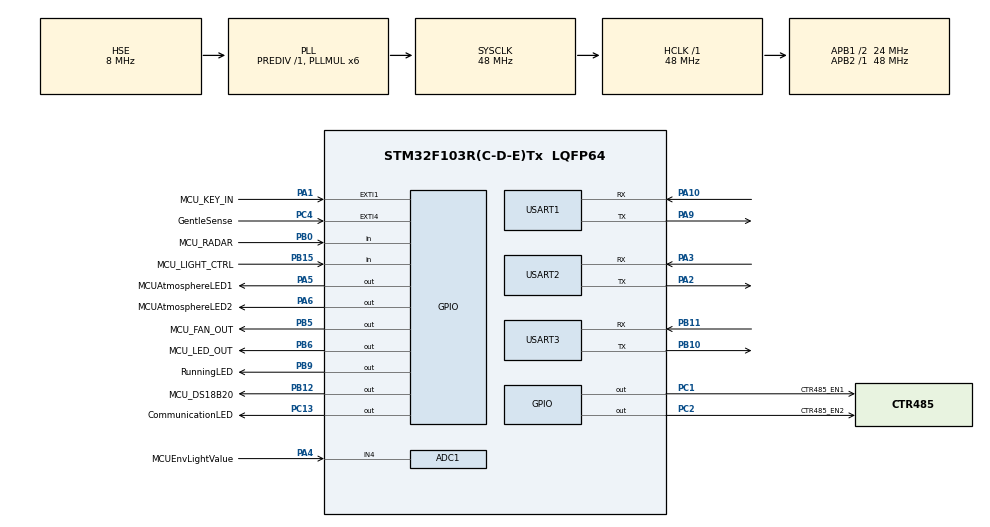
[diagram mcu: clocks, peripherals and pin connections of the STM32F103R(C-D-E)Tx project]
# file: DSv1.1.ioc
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ADC1.Channel-23\#ChannelRegularConversion=ADC_CHANNEL_4
ADC1.NbrOfConversionFlag=1
ADC1.Rank-23\#ChannelRegularConversion=1
ADC1.SamplingTime-23\#ChannelRegularConversion=ADC_SAMPLETIME_1CYCLE_5
ADC1.master=1
Dma.Request0=USART1_RX
Dma.USART1_RX.0.Direction=DMA_PERIPH_TO_MEMORY
Dma.USART1_RX.0.Instance=DMA1_Channel5
Dma.USART1_RX.0.MemDataAlignment=DMA_MDATAALIGN_BYTE
Dma.USART1_RX.0.MemInc=DMA_MINC_ENABLE
Dma.USART1_RX.0.Mode=DMA_NORMAL
Dma.USART1_RX.0.PeriphDataAlignment=DMA_PDATAALIGN_BYTE
Dma.USART1_RX.0.PeriphInc=DMA_PINC_DISABLE
Dma.USART1_RX.0.Priority=DMA_PRIORITY_LOW
Mcu.Family=STM32F1
Mcu.Name=STM32F103R(C-D-E)Tx
Mcu.Package=LQFP64
NVIC.DMA1_Channel5_IRQn=true\:0\:0\:false\:false\:true\:false
NVIC.EXTI1_IRQn=true\:0\:0\:false\:true\:true\:7\:true
NVIC.EXTI4_IRQn=true\:0\:0\:false\:true\:true\:6\:true
NVIC.PVD_IRQn=true\:0\:0\:false\:true\:true\:8\:true
NVIC.PriorityGroup=NVIC_PRIORITYGROUP_4
NVIC.TIM4_IRQn=true\:0\:0\:false\:true\:true\:4\:true
NVIC.TIM5_IRQn=true\:0\:0\:false\:true\:true\:5\:true
NVIC.USART1_IRQn=true\:0\:0\:false\:true\:true\:1\:true
NVIC.USART2_IRQn=true\:0\:0\:false\:true\:true\:2\:true
NVIC.USART3_IRQn=true\:0\:0\:false\:true\:true\:3\:true
PA1.GPIO_Label=MCU_KEY_IN
PA1.Signal=GPXTI1
PA10.Mode=Asynchronous
PA10.Signal=USART1_RX
PA13.Mode=Serial_Wire
PA13.Signal=SYS_JTMS-SWDIO
PA14.Mode=Serial_Wire
PA14.Signal=SYS_JTCK-SWCLK
PA2.Mode=Asynchronous
PA2.Signal=USART2_TX
PA3.Mode=Asynchronous
PA3.Signal=USART2_RX
PA4.GPIO_Label=MCUEnvLightValue
PA4.Signal=ADCx_IN4
PA5.GPIO_Label=MCUAtmosphereLED1
PA5.Signal=GPIO_Output
PA6.GPIO_Label=MCUAtmosphereLED2
PA6.Signal=GPIO_Output
PA9.Mode=Asynchronous
PA9.Signal=USART1_TX
PB0.GPIO_Label=MCU_RADAR
PB0.Signal=GPIO_Input
PB10.Mode=Asynchronous
PB10.Signal=USART3_TX
PB11.Mode=Asynchronous
PB11.Signal=USART3_RX
PB12.GPIO_Label=MCU_DS18B20
PB12.Signal=GPIO_Output
PB15.GPIO_Label=MCU_LIGHT_CTRL
PB15.Signal=GPIO_Input
PB5.GPIO_Label=MCU_FAN_OUT
PB5.Signal=GPIO_Output
PB6.GPIO_Label=MCU_LED_OUT
PB6.Signal=GPIO_Output
PB9.GPIO_Label=RunningLED
PB9.Signal=GPIO_Output
PC1.GPIO_Label=CTR485_EN1
PC1.Signal=GPIO_Output
PC13-TAMPER-RTC.GPIO_Label=CommunicationLED
PC13-TAMPER-RTC.Signal=GPIO_Output
PC2.GPIO_Label=CTR485_EN2
PC2.Signal=GPIO_Output
PC4.GPIO_Label=GentleSense
PC4.Signal=GPXTI4
PD0-OSC_IN.Mode=HSE-External-Oscillator
PD0-OSC_IN.Signal=RCC_OSC_IN
PD1-OSC_OUT.Mode=HSE-External-Oscillator
PD1-OSC_OUT.Signal=RCC_OSC_OUT
ProjectManager.HeapSize=0x200
ProjectManager.StackSize=0x400
ProjectManager.TargetToolchain=MDK-ARM V5
RCC.ADCPresc=RCC_ADCPCLK2_DIV4
RCC.AHBFreq_Value=48000000
RCC.APB1CLKDivider=RCC_HCLK_DIV2
RCC.APB1Freq_Value=24000000
RCC.APB1TimFreq_Value=48000000
RCC.APB2Freq_Value=48000000
RCC.APB2TimFreq_Value=48000000
RCC.HCLKFreq_Value=48000000
RCC.PLLMUL=RCC_PLL_MUL6
RCC.PLLSourceVirtual=RCC_PLLSOURCE_HSE
RCC.SYSCLKFreq_VALUE=48000000
RCC.SYSCLKSource=RCC_SYSCLKSOURCE_PLLCLK
RCC.USBFreq_Value=48000000
SH.ADCx_IN4.0=ADC1_IN4,IN4
TIM4.Period=1000-1
TIM4.Prescaler=48-1
TIM5.Period=1000-1
TIM5.Prescaler=48-1
USART1.VirtualMode=VM_ASYNC
USART2.VirtualMode=VM_ASYNC
USART3.VirtualMode=VM_ASYNC
VP_TIM4_VS_ClockSourceINT.Mode=Internal
VP_TIM5_VS_ClockSourceINT.Mode=Internal
board=DSv1.1

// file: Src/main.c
/**
  ******************************************************************************
  * File Name          : main.c
  * Description        : Main program body
  ******************************************************************************
  ** This notice applies to any and all portions of this file
  * that are not between comment pairs USER CODE BEGIN and
  * USER CODE END. Other portions of this file, whether
  * inserted by the user or by software development tools
  * are owned by their respective copyright owners.
  *
  * COPYRIGHT(c) 2017 STMicroelectronics
  *
  * Redistribution and use in source and binary forms, with or without modification,
  * are permitted provided that the following conditions are met:
  *   1. Redistributions of source code must retain the above copyright notice,
  *      this list of conditions and the following disclaimer.
  *   2. Redistributions in binary form must reproduce the above copyright notice,
  *      this list of conditions and the following disclaimer in the documentation
  *      and/or other materials provided with the distribution.
  *   3. Neither the name of STMicroelectronics nor the names of its contributors
  *      may be used to endorse or promote products derived from this software
  *      without specific prior written permission.
  *
  * THIS SOFTWARE IS PROVIDED BY THE COPYRIGHT HOLDERS AND CONTRIBUTORS "AS IS"
  * AND ANY EXPRESS OR IMPLIED WARRANTIES, INCLUDING, BUT NOT LIMITED TO, THE
  * IMPLIED WARRANTIES OF MERCHANTABILITY AND FITNESS FOR A PARTICULAR PURPOSE ARE
  * DISCLAIMED. IN NO EVENT SHALL THE COPYRIGHT HOLDER OR CONTRIBUTORS BE LIABLE
  * FOR ANY DIRECT, INDIRECT, INCIDENTAL, SPECIAL, EXEMPLARY, OR CONSEQUENTIAL
  * DAMAGES (INCLUDING, BUT NOT LIMITED TO, PROCUREMENT OF SUBSTITUTE GOODS OR
  * SERVICES; LOSS OF USE, DATA, OR PROFITS; OR BUSINESS INTERRUPTION) HOWEVER
  * CAUSED AND ON ANY THEORY OF LIABILITY, WHETHER IN CONTRACT, STRICT LIABILITY,
  * OR TORT (INCLUDING NEGLIGENCE OR OTHERWISE) ARISING IN ANY WAY OUT OF THE USE
  * OF THIS SOFTWARE, EVEN IF ADVISED OF THE POSSIBILITY OF SUCH DAMAGE.
  *
  ******************************************************************************
  */
#include "main.h"
#include "stm32f1xx_hal.h"
#include "adc.h"
#include "dma.h"
#include "tim.h"
#include "usart.h"
#include "gpio.h"

/* USER CODE BEGIN PV */
/* Private variables ---------------------------------------------------------*/
uint16_t gTIM4Cnt = 0;
uint8_t testCharBuf[10] = {0xAA, 0xBB, 0xAB, 0xCC, 0xDD, 0xEE, 0xFF, 0xCD, 0xEF, 0xBF};
/* USER CODE END PV */

void SystemClock_Config(void);
static void MX_NVIC_Init(void);

/* USER CODE BEGIN PFP */
/* Private function prototypes -----------------------------------------------*/

/* USER CODE END PFP */

int main(void)
{

  /* MCU Configuration----------------------------------------------------------*/

  /* Reset of all peripherals, Initializes the Flash interface and the Systick. */
  HAL_Init();

  /* Configure the system clock */
  SystemClock_Config();

  /* Initialize all configured peripherals */
  MX_GPIO_Init();
  MX_DMA_Init();
  MX_TIM4_Init();
  MX_TIM5_Init();
  MX_USART1_UART_Init();
  MX_USART2_UART_Init();
  MX_USART3_UART_Init();
  MX_ADC1_Init();

  /* Initialize interrupts */
  MX_NVIC_Init();

  /* USER CODE BEGIN 2 */
	HAL_TIM_Base_Start_IT(&htim4);
	HAL_UART_Receive_DMA(&huart1, UsartType.RX_pData, RX_LEN);
	__HAL_UART_ENABLE_IT(&huart1,UART_IT_IDLE);

  /* USER CODE END 2 */

  /* Infinite loop */
  while (1)
  {

  /* USER CODE BEGIN 3 */
		if(UsartType.RX_flag)
		{
			UsartType.RX_flag = 0;
			BSP_SendData2A9(UsartType.RX_pData,UsartType.RX_Size,0xFFFF);
		}
//		BSP_SendDate2BreakDoor1(testCharBuf,10,0xFFFF);
//		BSP_SendData2BreakDoor2(testCharBuf,10,0xFFFF);
//		HAL_Delay(100);

  }
  /* USER CODE END 3 */

}

/** System Clock Configuration
*/
void SystemClock_Config(void)
{

  RCC_OscInitTypeDef RCC_OscInitStruct;
  RCC_ClkInitTypeDef RCC_ClkInitStruct;
  RCC_PeriphCLKInitTypeDef PeriphClkInit;

    /**Initializes the CPU, AHB and APB busses clocks
    */
  RCC_OscInitStruct.OscillatorType = RCC_OSCILLATORTYPE_HSE;
  RCC_OscInitStruct.HSEState = RCC_HSE_ON;
  RCC_OscInitStruct.HSEPredivValue = RCC_HSE_PREDIV_DIV1;
  RCC_OscInitStruct.HSIState = RCC_HSI_ON;
  RCC_OscInitStruct.PLL.PLLState = RCC_PLL_ON;
  RCC_OscInitStruct.PLL.PLLSource = RCC_PLLSOURCE_HSE;
  RCC_OscInitStruct.PLL.PLLMUL = RCC_PLL_MUL6;
  if (HAL_RCC_OscConfig(&RCC_OscInitStruct) != HAL_OK)
  {
    _Error_Handler(__FILE__, __LINE__);
  }

    /**Initializes the CPU, AHB and APB busses clocks
    */
  RCC_ClkInitStruct.ClockType = RCC_CLOCKTYPE_HCLK|RCC_CLOCKTYPE_SYSCLK
                              |RCC_CLOCKTYPE_PCLK1|RCC_CLOCKTYPE_PCLK2;
  RCC_ClkInitStruct.SYSCLKSource = RCC_SYSCLKSOURCE_PLLCLK;
  RCC_ClkInitStruct.AHBCLKDivider = RCC_SYSCLK_DIV1;
  RCC_ClkInitStruct.APB1CLKDivider = RCC_HCLK_DIV2;
  RCC_ClkInitStruct.APB2CLKDivider = RCC_HCLK_DIV1;

  if (HAL_RCC_ClockConfig(&RCC_ClkInitStruct, FLASH_LATENCY_1) != HAL_OK)
  {
    _Error_Handler(__FILE__, __LINE__);
  }

  PeriphClkInit.PeriphClockSelection = RCC_PERIPHCLK_ADC;
  PeriphClkInit.AdcClockSelection = RCC_ADCPCLK2_DIV4;
  if (HAL_RCCEx_PeriphCLKConfig(&PeriphClkInit) != HAL_OK)
  {
    _Error_Handler(__FILE__, __LINE__);
  }

    /**Configure the Systick interrupt time
    */
  HAL_SYSTICK_Config(HAL_RCC_GetHCLKFreq()/1000);

    /**Configure the Systick
    */
  HAL_SYSTICK_CLKSourceConfig(SYSTICK_CLKSOURCE_HCLK);

  /* SysTick_IRQn interrupt configuration */
  HAL_NVIC_SetPriority(SysTick_IRQn, 0, 0);
}

/** NVIC Configuration
*/
static void MX_NVIC_Init(void)
{
  /* USART1_IRQn interrupt configuration */
  HAL_NVIC_SetPriority(USART1_IRQn, 0, 0);
  HAL_NVIC_EnableIRQ(USART1_IRQn);
  /* USART2_IRQn interrupt configuration */
  HAL_NVIC_SetPriority(USART2_IRQn, 0, 0);
  HAL_NVIC_EnableIRQ(USART2_IRQn);
  /* USART3_IRQn interrupt configuration */
  HAL_NVIC_SetPriority(USART3_IRQn, 0, 0);
  HAL_NVIC_EnableIRQ(USART3_IRQn);
  /* TIM4_IRQn interrupt configuration */
  HAL_NVIC_SetPriority(TIM4_IRQn, 0, 0);
  HAL_NVIC_EnableIRQ(TIM4_IRQn);
  /* TIM5_IRQn interrupt configuration */
  HAL_NVIC_SetPriority(TIM5_IRQn, 0, 0);
  HAL_NVIC_EnableIRQ(TIM5_IRQn);
  /* EXTI4_IRQn interrupt configuration */
  HAL_NVIC_SetPriority(EXTI4_IRQn, 0, 0);
  HAL_NVIC_EnableIRQ(EXTI4_IRQn);
  /* EXTI1_IRQn interrupt configuration */
  HAL_NVIC_SetPriority(EXTI1_IRQn, 0, 0);
  HAL_NVIC_EnableIRQ(EXTI1_IRQn);
  /* PVD_IRQn interrupt configuration */
  HAL_NVIC_SetPriority(PVD_IRQn, 0, 0);
  HAL_NVIC_EnableIRQ(PVD_IRQn);
}

/* USER CODE BEGIN 4 */
void HAL_TIM_PeriodElapsedCallback(TIM_HandleTypeDef *htim)
{
	if(htim->Instance == htim4.Instance)
	{
		gTIM4Cnt++;
			if(gTIM4Cnt > 100)
			{
				BSP_COMMUNICATIONLED_TORGGLE();
				BSP_RUNNINGLED_TORGGLE();
				gTIM4Cnt = 0;
			}

	}

	if(htim->Instance == htim5.Instance)
	{

	}
}

/* USER CODE END 4 */

void _Error_Handler(char * file, int line)
{
  while(1)
  {
  }
}

/************************ (C) COPYRIGHT STMicroelectronics *****END OF FILE****/
